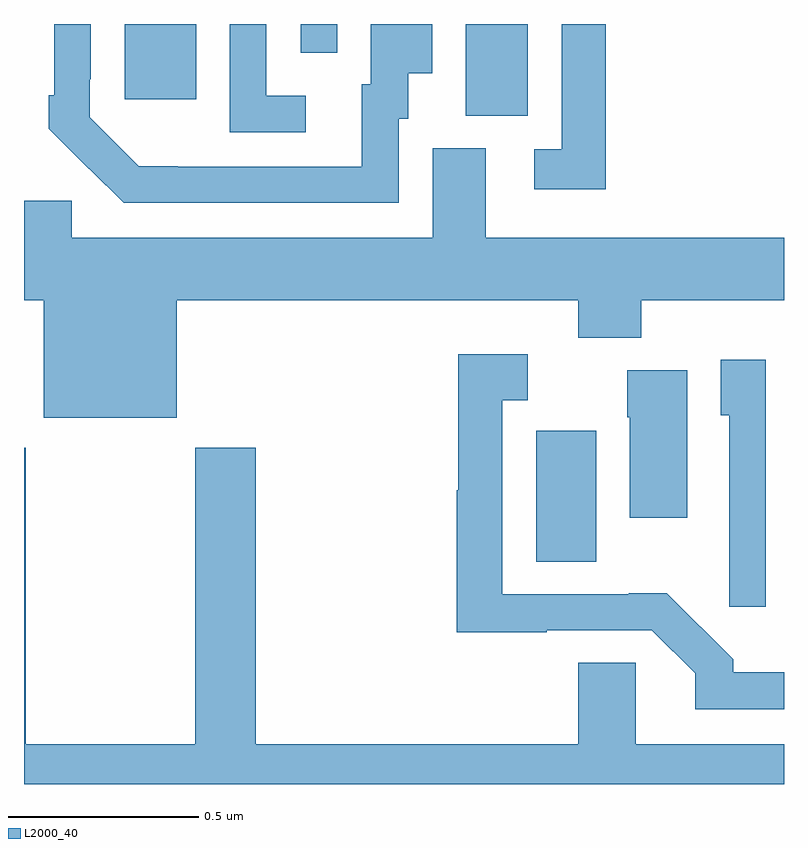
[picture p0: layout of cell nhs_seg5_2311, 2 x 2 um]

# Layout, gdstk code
import gdstk
lib = gdstk.Library(unit=1e-6, precision=1e-09)
def R(c, l, rs):  # rectangles x0, y0, x1, y1
    for r in rs: c.add(gdstk.rectangle(r[:2], r[2:], *l))
def P(c, l, *ps):  # polygons
    for p in ps: c.add(gdstk.Polygon(p, *l))
L2000_40 = (2000, 40)

nhs_seg5_2311 = lib.new_cell('nhs_seg5_2311')
R(nhs_seg5_2311, L2000_40, [(143.348,877.384,143.506,877.729), (143.162,878.557,143.326,878.799), (142.265,878.601,142.453,878.799), (142.728,878.724,142.824,878.799)])
P(nhs_seg5_2311, L2000_40, [(142.741,878.61),(142.638,878.61),(142.638,878.799),(142.542,878.799),(142.542,878.514),(142.741,878.514)],
  [(143.531,878.799),(143.415,878.799),(143.415,878.469),(143.343,878.469),(143.343,878.364),(143.531,878.364)],
  [(142.986,878.55),(143.011,878.55),(143.011,878.669),(143.074,878.669),(143.074,878.799),(142.913,878.799),(142.913,878.64),(142.889,878.64),(142.889,878.424),(142.405,878.424),(142.405,878.425),(142.302,878.425),(142.173,878.553),(142.173,878.653),(142.176,878.653),(142.176,878.799),(142.08,878.799),(142.08,878.611),(142.065,878.611),(142.065,878.523),(142.17,878.418),(142.171,878.419),(142.262,878.328),(142.986,878.328)],
  [(142.402,878.072),(143.459,878.072),(143.459,877.973),(143.624,877.973),(143.624,878.072),(144,878.072),(144,878.236),(143.215,878.236),(143.215,878.472),(143.075,878.472),(143.075,878.236),(142.125,878.236),(142.125,878.334),(142,878.334),(142,878.072),(142.052,878.072),(142.052,877.763),(142.402,877.763)],
  [(144,877.093),(143.866,877.093),(143.866,877.127),(143.692,877.301),(143.591,877.301),(143.591,877.299),(143.259,877.299),(143.259,877.809),(143.326,877.809),(143.326,877.93),(143.143,877.93),(143.143,877.572),(143.139,877.572),(143.139,877.198),(143.375,877.198),(143.375,877.203),(143.652,877.203),(143.766,877.09),(143.766,876.996),(144,876.996)],
  [(143.952,877.915),(143.834,877.915),(143.834,877.77),(143.856,877.77),(143.856,877.266),(143.952,877.266)],
  [(143.746,877.888),(143.588,877.888),(143.588,877.764),(143.594,877.764),(143.594,877.5),(143.746,877.5)],
  [(142.61,877.684),(142.45,877.684),(142.45,876.904),(142.005,876.904),(142.005,877.684),(142,877.684),(142,876.799),(144,876.799),(144,876.904),(143.61,876.904),(143.61,877.118),(143.459,877.118),(143.459,876.904),(142.61,876.904)])

lib.write_gds('nhs_seg5_2311.gds')
